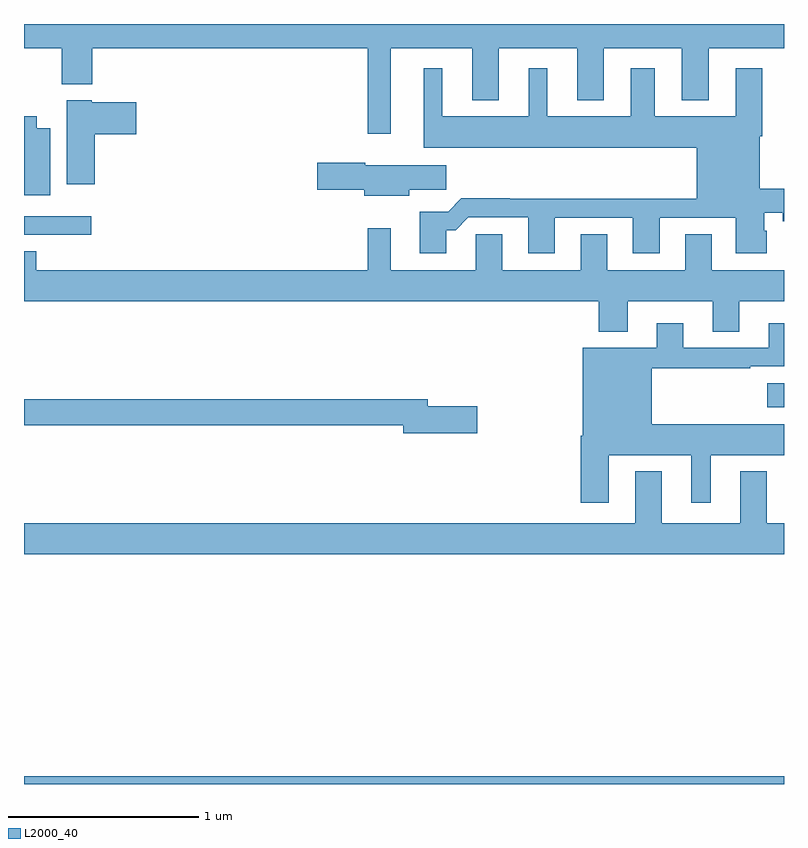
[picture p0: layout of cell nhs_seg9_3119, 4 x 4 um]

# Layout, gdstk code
import gdstk
lib = gdstk.Library(unit=1e-6, precision=1e-09)
def R(c, l, rs):  # rectangles x0, y0, x1, y1
    for r in rs: c.add(gdstk.rectangle(r[:2], r[2:], *l))
def P(c, l, *ps):  # polygons
    for p in ps: c.add(gdstk.Polygon(p, *l))
L2000_40 = (2000, 40)

nhs_seg9_3119 = lib.new_cell('nhs_seg9_3119')
R(nhs_seg9_3119, L2000_40, [(289,1240.5,293,1240.54), (292.911,1242.482,293,1242.61), (289,1243.392,289.354,1243.488)])
P(nhs_seg9_3119, L2000_40, [(289,1244.372),(289.198,1244.372),(289.198,1244.183),(289.358,1244.183),(289.358,1244.372),(290.808,1244.372),(290.808,1243.923),(290.929,1243.923),(290.929,1244.372),(291.359,1244.372),(291.359,1244.099),(291.499,1244.099),(291.499,1244.372),(291.911,1244.372),(291.911,1244.099),(292.051,1244.099),(292.051,1244.372),(292.463,1244.372),(292.463,1244.099),(292.603,1244.099),(292.603,1244.372),(293,1244.372),(293,1244.5),(289,1244.5)],
  [(291.223,1243.415),(291.272,1243.415),(291.339,1243.482),(291.653,1243.482),(291.653,1243.293),(291.793,1243.293),(291.793,1243.479),(292.205,1243.479),(292.205,1243.293),(292.345,1243.293),(292.345,1243.479),(292.745,1243.479),(292.745,1243.293),(292.91,1243.293),(292.91,1243.413),(292.897,1243.413),(292.897,1243.506),(292.994,1243.506),(292.994,1243.463),(293,1243.463),(293,1243.634),(292.873,1243.634),(292.873,1243.91),(292.886,1243.91),(292.886,1244.266),(292.745,1244.266),(292.745,1244.014),(292.321,1244.014),(292.321,1244.266),(292.193,1244.266),(292.193,1244.014),(291.754,1244.014),(291.754,1244.266),(291.656,1244.266),(291.656,1244.014),(291.202,1244.014),(291.202,1244.266),(291.104,1244.266),(291.104,1243.85),(292.541,1243.85),(292.541,1243.58),(291.557,1243.58),(291.557,1243.583),(291.302,1243.583),(291.232,1243.513),(291.083,1243.513),(291.083,1243.293),(291.223,1243.293)],
  [(289.373,1243.919),(289.591,1243.919),(289.591,1244.089),(289.356,1244.089),(289.356,1244.098),(289.226,1244.098),(289.226,1243.656),(289.373,1243.656)],
  [(289.138,1243.951),(289.066,1243.951),(289.066,1244.014),(289,1244.014),(289,1243.598),(289.138,1243.598)],
  [(291.028,1243.627),(291.223,1243.627),(291.223,1243.756),(290.796,1243.756),(290.796,1243.769),(290.544,1243.769),(290.544,1243.627),(290.792,1243.627),(290.792,1243.595),(291.028,1243.595)],
  [(292.765,1243.04),(293,1243.04),(293,1243.204),(292.621,1243.204),(292.621,1243.394),(292.481,1243.394),(292.481,1243.204),(292.069,1243.204),(292.069,1243.394),(291.929,1243.394),(291.929,1243.204),(291.517,1243.204),(291.517,1243.394),(291.378,1243.394),(291.378,1243.204),(290.929,1243.204),(290.929,1243.426),(290.808,1243.426),(290.808,1243.204),(289.064,1243.204),(289.064,1243.303),(289,1243.303),(289,1243.04),(292.025,1243.04),(292.025,1242.881),(292.177,1242.881),(292.177,1243.04),(292.625,1243.04),(292.625,1242.88),(292.765,1242.88)],
  [(292.078,1242.23),(292.511,1242.23),(292.511,1241.979),(292.615,1241.979),(292.615,1242.23),(293,1242.23),(293,1242.394),(292.303,1242.394),(292.303,1242.687),(292.823,1242.687),(292.823,1242.699),(293,1242.699),(293,1242.925),(292.919,1242.925),(292.919,1242.795),(292.471,1242.795),(292.471,1242.925),(292.331,1242.925),(292.331,1242.796),(291.941,1242.796),(291.941,1242.334),(291.929,1242.334),(291.929,1241.979),(292.078,1241.979)],
  [(291.385,1242.488),(291.124,1242.488),(291.124,1242.524),(289,1242.524),(289,1242.388),(290.996,1242.388),(290.996,1242.346),(291.385,1242.346)],
  [(293,1241.872),(292.909,1241.872),(292.909,1242.145),(292.769,1242.145),(292.769,1241.872),(292.357,1241.872),(292.357,1242.145),(292.217,1242.145),(292.217,1241.872),(289,1241.872),(289,1241.708),(293,1241.708)])

lib.write_gds('nhs_seg9_3119.gds')
